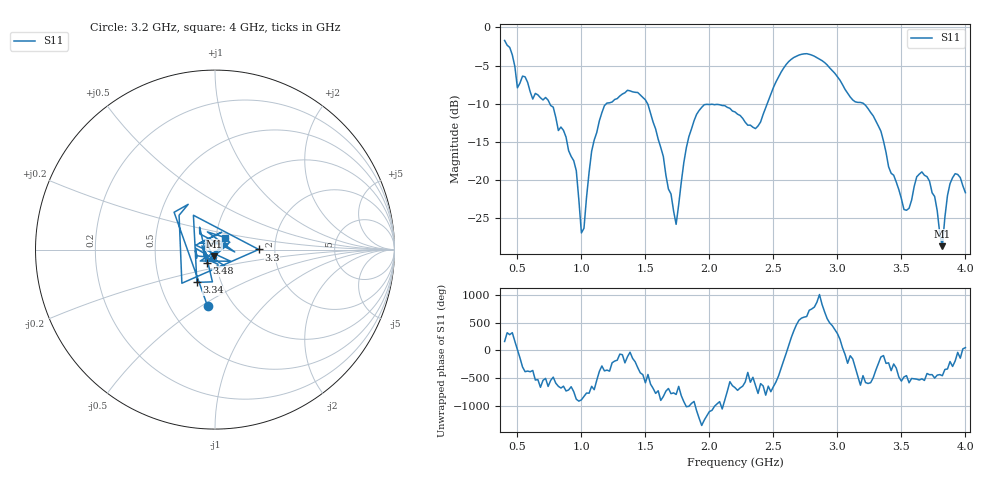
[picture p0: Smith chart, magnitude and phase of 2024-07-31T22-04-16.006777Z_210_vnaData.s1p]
!Created with skrf (http://scikit-rf.org).
# Hz S RI R 50.0
!freq ReS11 ImS11
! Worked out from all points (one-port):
!   181 points, 400 MHz to 4 GHz, reference 50 ohm
!   lowest |S11| = -28.7 dB at 3.82 GHz (marker M1), VSWR 1.08, Z = 49.3 - j3.6 ohm
!   |S11| at or under -10 dB: 753.1 MHz to 1.195 GHz (442.1 MHz wide, 45.4 % of centre); 1.517 GHz to 2.452 GHz (935.8 MHz wide, 47.2 % of centre); 3.205 GHz to end of sweep
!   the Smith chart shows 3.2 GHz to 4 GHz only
!   S11 on the Smith chart (normalised r, x): 3.2 GHz: 0.76, -0.53; 3.3 GHz: 1.65, +0.00; 3.34 GHz: 0.77, -0.29; 3.48 GHz: 0.90, -0.13; 4 GHz: 1.10, +0.14
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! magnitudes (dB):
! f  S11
! 400 MHz  -1.7
! 500 MHz  -7.9
! 560 MHz  -6.5
! 860 MHz  -13.5
! 960 MHz  -18.8
! 1 GHz  -26.9
! 1.08 GHz  -16.2
! 1.14 GHz  -12.3
! 1.3 GHz  -9.0
! 1.52 GHz  -10.1
! 1.74 GHz  -25.8
! 1.76 GHz  -23.2
! 1.82 GHz  -15.8
! 1.9 GHz  -11.4
! 2.2 GHz  -11.1
! 2.36 GHz  -13.3
! 2.66 GHz  -3.9
! 3.1 GHz  -9.1
! 3.2 GHz  -9.9
! 3.3 GHz  -12.3
! 3.34 GHz  -13.6
! 3.48 GHz  -21.3
! 3.56 GHz  -23.7
! 3.62 GHz  -19.6
! 3.7 GHz  -19.6
! 3.82 GHz  -28.7
! 3.9 GHz  -19.7
! 4 GHz  -21.7
